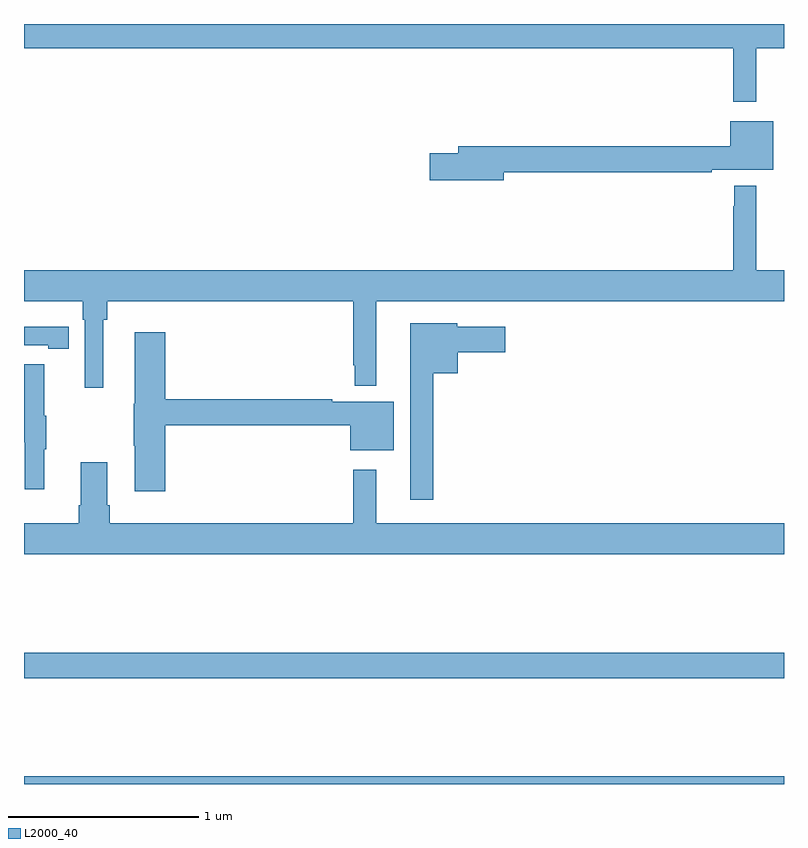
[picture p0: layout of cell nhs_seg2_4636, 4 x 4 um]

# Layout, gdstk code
import gdstk
lib = gdstk.Library(unit=1e-6, precision=1e-09)
def R(c, l, rs):  # rectangles x0, y0, x1, y1
    for r in rs: c.add(gdstk.rectangle(r[:2], r[2:], *l))
def P(c, l, *ps):  # polygons
    for p in ps: c.add(gdstk.Polygon(p, *l))
L2000_40 = (2000, 40)

nhs_seg2_4636 = lib.new_cell('nhs_seg2_4636')
R(nhs_seg2_4636, L2000_40, [(363,607.8,367,607.84), (363,608.356,367,608.492)])
P(nhs_seg2_4636, L2000_40, [(366.853,611.672),(367,611.672),(367,611.8),(363,611.8),(363,611.672),(366.732,611.672),(366.732,611.391),(366.853,611.391)],
  [(365.524,611.02),(366.62,611.02),(366.62,611.033),(366.943,611.033),(366.943,611.287),(366.716,611.287),(366.716,611.156),(365.285,611.156),(365.285,611.12),(365.136,611.12),(365.136,610.978),(365.524,610.978)],
  [(363.418,610.244),(363.437,610.244),(363.437,610.34),(364.734,610.34),(364.734,610.003),(364.74,610.003),(364.74,609.896),(364.855,609.896),(364.855,610.34),(367,610.34),(367,610.504),(366.853,610.504),(366.853,610.948),(366.738,610.948),(366.738,610.841),(366.732,610.841),(366.732,610.504),(363,610.504),(363,610.34),(363.308,610.34),(363.308,610.244),(363.321,610.244),(363.321,609.885),(363.418,609.885)],
  [(365.155,609.962),(365.284,609.962),(365.284,610.073),(365.533,610.073),(365.533,610.207),(365.28,610.207),(365.28,610.225),(365.033,610.225),(365.033,609.297),(365.155,609.297)],
  [(363.236,610.206),(363.128,610.206),(363.128,610.207),(363,610.207),(363,610.11),(363.128,610.11),(363.128,610.09),(363.236,610.09)],
  [(363.743,609.688),(364.718,609.688),(364.718,609.557),(364.945,609.557),(364.945,609.811),(364.622,609.811),(364.622,609.824),(363.743,609.824),(363.743,610.177),(363.584,610.177),(363.584,609.801),(363.577,609.801),(363.577,609.58),(363.584,609.58),(363.584,609.342),(363.743,609.342)],
  [(363.107,609.563),(363.118,609.563),(363.118,609.737),(363.107,609.737),(363.107,610.009),(363,610.009),(363,609.6),(363.004,609.6),(363.004,609.351),(363.107,609.351)],
  [(367,609.172),(364.855,609.172),(364.855,609.454),(364.734,609.454),(364.734,609.172),(363.452,609.172),(363.452,609.268),(363.439,609.268),(363.439,609.493),(363.299,609.493),(363.299,609.268),(363.287,609.268),(363.287,609.172),(363,609.172),(363,609.008),(367,609.008)])

lib.write_gds('nhs_seg2_4636.gds')
